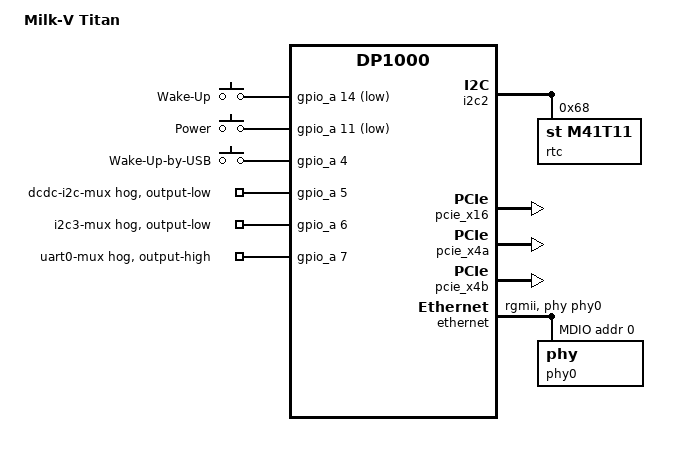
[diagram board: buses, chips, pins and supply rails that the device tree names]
// SPDX-License-Identifier: GPL-2.0
/*
 * Copyright(C) 2026 UltraRISC Technology (Shanghai) Co., Ltd.
 */

#include "dp1000-milkv-titan-pinctrl.dtsi"
#include <dt-bindings/gpio/gpio.h>
#include <dt-bindings/input/input.h>
#include <dt-bindings/input/gpio-keys.h>
#include <dt-bindings/interrupt-controller/irq.h>
#include <dt-bindings/leds/common.h>

/ {
	model = "Milk-V Titan";
	compatible = "milkv,titan", "ultrarisc,dp1000";

	aliases {
		serial0 = &uart0;
		serial1 = &uart1;
		serial2 = &uart2;
		serial3 = &uart3;
	};

	chosen {
		stdout-path = "serial0:115200n8";
	};

	gpio-keys {
		compatible = "gpio-keys";
		pinctrl-names = "default";
		pinctrl-0 = <&gpio_keys_pins>;

		key-wakeup-0 {
			label = "Wake-Up";
			gpios = <&gpio_a 14 GPIO_ACTIVE_LOW>;
			linux,code = <KEY_WAKEUP>;
			linux,input-type = <EV_KEY>;
			debounce-interval = <10>;
			wakeup-source;
			wakeup-event-action = <EV_ACT_ASSERTED>;
		};

		key-wakeup-1 {
			label = "Power";
			gpios = <&gpio_a 11 GPIO_ACTIVE_LOW>;
			linux,code = <KEY_POWER>;
			linux,input-type = <EV_KEY>;
			debounce-interval = <10>;
			wakeup-source;
			wakeup-event-action = <EV_ACT_ASSERTED>;
		};

		key-wakeup-2 {
			label = "Wake-Up-by-USB";
			interrupts-extended = <&gpio_a 4 IRQ_TYPE_EDGE_FALLING>;
			linux,code = <KEY_WAKEUP>;
			linux,input-type = <EV_KEY>;
			debounce-interval = <10>;
			wakeup-source;
		};
	};
};

&i2c0 {
	pinctrl-names = "default";
	pinctrl-0 = <&i2c0_pins>;
};

&i2c1 {
	pinctrl-names = "default";
	pinctrl-0 = <&i2c1_pins>;
};

&i2c2 {
	pinctrl-names = "default";
	pinctrl-0 = <&i2c2_pins>;

	rtc@68 {
		compatible = "st,m41t11";
		reg = <0x68>;
	};
};

&i2c3 {
	pinctrl-names = "default";
	pinctrl-0 = <&i2c3_pins>;
};

&spi0 {
	pinctrl-names = "default";
	pinctrl-0 = <&spi0_pins>;
};

&spi1 {
	num-cs = <1>;

	pinctrl-names = "default";
	pinctrl-0 = <&spi1_pins>;
};

&uart0 {
	pinctrl-names = "default";
	pinctrl-0 = <&uart0_pins>;
};

&uart1 {
	pinctrl-names = "default";
	pinctrl-0 = <&uart1_pins>;
};

&uart2 {
	pinctrl-names = "default";
	pinctrl-0 = <&uart2_pins>;
};

&uart3 {
	pinctrl-names = "default";
	pinctrl-0 = <&uart3_pins>;
};

&pcie_x16 {
	status = "okay";
};

&pcie_x4a {
	status = "okay";
};

&pcie_x4b {
	status = "okay";
};

&gpio {
	pinctrl-names = "default";
	pinctrl-0 = <&io_pins &mux_dcdc_i2c_pins &mux_i2c3_pins &mux_uart0_pins>;
};

&gpio_a {
	dcdc-i2c-mux-hog {
		gpio-hog;
		gpios = <5 GPIO_ACTIVE_HIGH>;
		output-low;
		line-name = "dcdc-i2c-mux";
	};

	i2c3-mux-hog {
		gpio-hog;
		gpios = <6 GPIO_ACTIVE_HIGH>;
		output-low;
		line-name = "i2c3-mux";
	};

	uart0-mux-hog {
		gpio-hog;
		gpios = <7 GPIO_ACTIVE_HIGH>;
		output-high;
		line-name = "uart0-mux";
	};
};

&ethernet {
	phy-handle = <&phy0>;
	/*
	 * RTL8211F: board timing uses PHY strap delays; keep plain "rgmii".
	 * Enabling PHY internal delays via "rgmii-id" breaks Ethernet traffic.
	 */
	phy-mode = "rgmii";

	status = "okay";

	mdio {
		compatible = "snps,dwmac-mdio";
		#address-cells = <1>;
		#size-cells = <0>;

		phy0: phy@0 {
			reg = <0>;

			leds {
				#address-cells = <1>;
				#size-cells = <0>;

				led@1 {
					label = "eth-link";
					reg = <1>;
					color = <LED_COLOR_ID_YELLOW>;
					function = LED_FUNCTION_INDICATOR;
					default-state = "keep";
					linux,default-trigger = "netdev";
				};

				led@2 {
					label = "eth-activity";
					reg = <2>;
					color = <LED_COLOR_ID_GREEN>;
					function = LED_FUNCTION_ACTIVITY;
					default-state = "keep";
					linux,default-trigger = "netdev";
				};
			};
		};
	};
};
